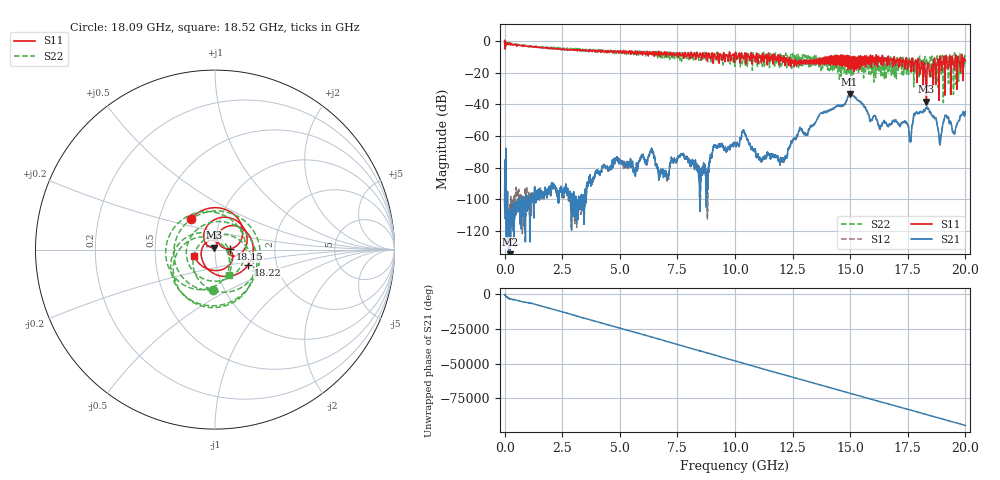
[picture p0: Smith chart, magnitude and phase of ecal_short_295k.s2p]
! MS46122B
! 2250307/22442219
! 7/31/2025 8:12:43 AM
! C:\USERS\SPARKY\DOCUMENTS\VNA_DATA\JULY31_2025\295K\ECAL_SHORT.S2P
! CHANNEL.1
! TR.MEASUREMENT
! RAW.DATA
# GHZ S RI R 50.0
! FREQ.GHZ  S11RE  S11IM  S21RE  S21IM  S12RE  S12IM  S22RE  S22IM
!; PortSelection: Port_12
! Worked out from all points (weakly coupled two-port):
!   10001 points, 1 MHz to 20 GHz, reference 50 ohm
!   highest |S21| = -33.50 dB at 14.97 GHz (marker M1); lowest = -140.0 dB at 237 MHz (marker M2)
!   lowest |S11| = -38.2 dB at 18.31 GHz (marker M3), VSWR 1.02, Z = 49.6 + j1.16 ohm
!   |S11| at or under -10 dB: 12.14 GHz to 13.92 GHz (1.782 GHz wide, 13.7 % of centre); 16.66 GHz to 16.9 GHz (236 MHz wide, 1.41 % of centre); 16.92 GHz to 18.9 GHz (1.979 GHz wide, 11.1 % of centre) (the widest 3 of 73)
!   |S22| runs from -38.9 to 0.0 dB; largest |S21 - S12| = 0.0024
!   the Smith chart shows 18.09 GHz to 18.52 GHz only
!   S11 on the Smith chart (normalised r, x): 18.09 GHz: 0.72, +0.26; 18.15 GHz: 1.19, +0.01; 18.22 GHz: 1.43, -0.25; 18.52 GHz: 0.79, -0.05
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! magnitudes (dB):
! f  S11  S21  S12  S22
! 1 MHz  0.4  -104.6  -100.3  -0.2
! 237 MHz  -1.6  -140.0  -107.8  -1.3
! 3.335 GHz  -6.1  -100.5  -102.7  -5.4
! 6.367 GHz  -7.4  -69.0  -68.7  -7.4
! 6.669 GHz  -8.1  -81.3  -82.4  -7.4
! 8.765 GHz  -7.7  -93.5  -88.0  -8.0
! 9.133 GHz  -8.7  -66.2  -66.7  -8.7
! 10 GHz  -8.1  -64.7  -64.9  -14.5
! 10.39 GHz  -10.8  -57.9  -57.7  -10.0
! 11.11 GHz  -9.4  -75.0  -74.4  -10.3
! 12.04 GHz  -10.7  -74.9  -75.6  -11.0
! 13.33 GHz  -12.2  -53.5  -53.5  -12.4
! 14.97 GHz  -13.8  -33.5  -33.6  -19.8
! 16.67 GHz  -10.4  -53.5  -53.6  -10.4
! 17.61 GHz  -13.5  -63.8  -63.6  -15.6
! 18.09 GHz  -13.2  -44.8  -44.8  -12.9
! 18.15 GHz  -21.4  -45.1  -45.4  -12.3
! 18.22 GHz  -13.8  -44.4  -44.5  -14.3
! 18.31 GHz  -38.2  -42.5  -42.5  -13.9
! 18.52 GHz  -18.2  -46.3  -46.4  -15.9
! 18.9 GHz  -9.7  -65.2  -65.3  -13.8
! 20 GHz  -12.4  -44.6  -45.3  -14.2
